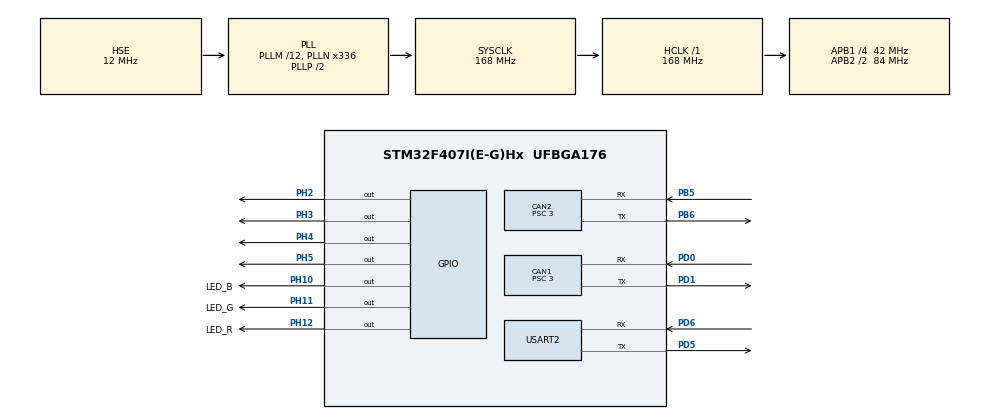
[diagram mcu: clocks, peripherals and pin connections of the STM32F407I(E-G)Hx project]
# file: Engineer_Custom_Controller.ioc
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CAN1.ABOM=ENABLE
CAN1.BS1=CAN_BS1_10TQ
CAN1.BS2=CAN_BS2_3TQ
CAN1.CalculateBaudRate=1000000
CAN1.CalculateTimeBit=1000
CAN1.CalculateTimeQuantum=71.42857142857143
CAN1.Prescaler=3
CAN2.ABOM=ENABLE
CAN2.BS1=CAN_BS1_10TQ
CAN2.BS2=CAN_BS2_3TQ
CAN2.CalculateBaudRate=1000000
CAN2.CalculateTimeBit=1000
CAN2.CalculateTimeQuantum=71.42857142857143
CAN2.Prescaler=3
Dma.Request0=USART2_RX
Dma.Request1=USART2_TX
Dma.USART2_RX.0.Direction=DMA_PERIPH_TO_MEMORY
Dma.USART2_RX.0.FIFOMode=DMA_FIFOMODE_DISABLE
Dma.USART2_RX.0.Instance=DMA1_Stream5
Dma.USART2_RX.0.MemDataAlignment=DMA_MDATAALIGN_BYTE
Dma.USART2_RX.0.MemInc=DMA_MINC_ENABLE
Dma.USART2_RX.0.Mode=DMA_NORMAL
Dma.USART2_RX.0.PeriphDataAlignment=DMA_PDATAALIGN_BYTE
Dma.USART2_RX.0.PeriphInc=DMA_PINC_DISABLE
Dma.USART2_RX.0.Priority=DMA_PRIORITY_LOW
Dma.USART2_TX.1.Direction=DMA_MEMORY_TO_PERIPH
Dma.USART2_TX.1.FIFOMode=DMA_FIFOMODE_DISABLE
Dma.USART2_TX.1.Instance=DMA1_Stream6
Dma.USART2_TX.1.MemDataAlignment=DMA_MDATAALIGN_BYTE
Dma.USART2_TX.1.MemInc=DMA_MINC_ENABLE
Dma.USART2_TX.1.Mode=DMA_NORMAL
Dma.USART2_TX.1.PeriphDataAlignment=DMA_PDATAALIGN_BYTE
Dma.USART2_TX.1.PeriphInc=DMA_PINC_DISABLE
Dma.USART2_TX.1.Priority=DMA_PRIORITY_LOW
Mcu.Family=STM32F4
Mcu.Name=STM32F407I(E-G)Hx
Mcu.Package=UFBGA176
NVIC.CAN1_RX0_IRQn=true\:0\:0\:false\:false\:true\:true\:true\:true
NVIC.CAN1_RX1_IRQn=true\:0\:0\:false\:false\:true\:true\:true\:true
NVIC.CAN2_RX0_IRQn=true\:0\:0\:false\:false\:true\:true\:true\:true
NVIC.CAN2_RX1_IRQn=true\:0\:0\:false\:false\:true\:true\:true\:true
NVIC.DMA1_Stream5_IRQn=true\:0\:0\:false\:false\:true\:false\:true\:true
NVIC.DMA1_Stream6_IRQn=true\:0\:0\:false\:false\:true\:false\:true\:true
NVIC.PriorityGroup=NVIC_PRIORITYGROUP_4
NVIC.TIM6_DAC_IRQn=true\:0\:0\:false\:false\:true\:true\:true\:true
NVIC.USART2_IRQn=true\:0\:0\:false\:false\:true\:true\:true\:true
PA13.Mode=Serial_Wire
PA13.Signal=SYS_JTMS-SWDIO
PA14.Mode=Serial_Wire
PA14.Signal=SYS_JTCK-SWCLK
PB5.Mode=CAN_Activate
PB5.Signal=CAN2_RX
PB6.Mode=CAN_Activate
PB6.Signal=CAN2_TX
PD0.Mode=CAN_Activate
PD0.Signal=CAN1_RX
PD1.Mode=CAN_Activate
PD1.Signal=CAN1_TX
PD5.Mode=Asynchronous
PD5.Signal=USART2_TX
PD6.Mode=Asynchronous
PD6.Signal=USART2_RX
PH0-OSC_IN.Mode=HSE-External-Oscillator
PH0-OSC_IN.Signal=RCC_OSC_IN
PH1-OSC_OUT.Mode=HSE-External-Oscillator
PH1-OSC_OUT.Signal=RCC_OSC_OUT
PH10.GPIO_Label=LED_B
PH10.Signal=GPIO_Output
PH11.GPIO_Label=LED_G
PH11.Signal=GPIO_Output
PH12.GPIO_Label=LED_R
PH12.Signal=GPIO_Output
PH2.Signal=GPIO_Output
PH3.Signal=GPIO_Output
PH4.Signal=GPIO_Output
PH5.Signal=GPIO_Output
ProjectManager.HeapSize=0x200
ProjectManager.StackSize=0x400
ProjectManager.TargetToolchain=STM32CubeIDE
RCC.48MHZClocksFreq_Value=84000000
RCC.AHBFreq_Value=168000000
RCC.APB1CLKDivider=RCC_HCLK_DIV4
RCC.APB1Freq_Value=42000000
RCC.APB1TimFreq_Value=84000000
RCC.APB2CLKDivider=RCC_HCLK_DIV2
RCC.APB2Freq_Value=84000000
RCC.APB2TimFreq_Value=168000000
RCC.CortexFreq_Value=168000000
RCC.HCLKFreq_Value=168000000
RCC.HSE_VALUE=12000000
RCC.HSI_VALUE=16000000
RCC.LSE_VALUE=32768
RCC.PLLM=12
RCC.PLLN=336
RCC.PLLSourceVirtual=RCC_PLLSOURCE_HSE
RCC.SYSCLKFreq_VALUE=168000000
RCC.SYSCLKSource=RCC_SYSCLKSOURCE_PLLCLK
RCC.VCOOutputFreq_Value=336000000
USART2.VirtualMode=VM_ASYNC
VP_TIM6_VS_ClockSourceINT.Mode=Enable_Timer
board=custom

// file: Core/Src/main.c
/* USER CODE BEGIN Header */
/**
  ******************************************************************************
  * @file           : main.c
  * @brief          : Main program body
  ******************************************************************************
  * @attention
  *
  * Copyright (c) 2025 STMicroelectronics.
  * All rights reserved.
  *
  * This software is licensed under terms that can be found in the LICENSE file
  * in the root directory of this software component.
  * If no LICENSE file comes with this software, it is provided AS-IS.
  *
  ******************************************************************************
  */
/* USER CODE END Header */
#include "main.h"
#include "can.h"
#include "dma.h"
#include "tim.h"
#include "usart.h"
#include "gpio.h"

/* USER CODE BEGIN Includes */
#include "dvc_timebase.h"
#include "dvc_serialplot.h"
#include "dvc_motor.h"
#include "alg_pid.h"
#include "dvc_motor_config.h"
#include "drv_can.h"
#include "math.h"
#include "drv_comm.h"
/* USER CODE END Includes */

/* USER CODE BEGIN PTD */
UART_Manage_t uart2_mgr;   // one per UART

/* USER CODE END PTD */

/* USER CODE BEGIN PD */
Serialplot_t plot;
volatile int16_t debug_cmd_motor7 = 0;
#define SEND_INTERVAL_MS 100 // Send data every 100ms
/* USER CODE END PD */

/* USER CODE BEGIN PV */
float var1, var2, var3;

AnglesAndButtons_t sensor_data = {0};
ControllerFrame_t tx_frame = {0};
static uint32_t last_send_time = 0; // Track last send time for periodic transmission
/* USER CODE END PV */

void SystemClock_Config(void);
/* USER CODE BEGIN PFP */
void collect_and_send_data(void); // Function to collect and send angle data
/* USER CODE END PFP */

int main(void)
{

  /* MCU Configuration--------------------------------------------------------*/

  /* Reset of all peripherals, Initializes the Flash interface and the Systick. */
  HAL_Init();

  /* Configure the system clock */
  SystemClock_Config();

  /* Initialize all configured peripherals */
  MX_GPIO_Init();
  MX_DMA_Init();
  MX_CAN1_Init();
  MX_CAN2_Init();
  MX_USART2_UART_Init();
  MX_TIM6_Init();                    // init TIM6 first
  HAL_TIM_Base_Start_IT(&htim6);     // then start it with interrupt enabled
  protocol_init();

  /* USER CODE BEGIN 2 */
  Enable_CAN2();
  Motors_Init();
  Motor_Set_Target_Angle(&motors[3], -1.8f);
  Motor_Set_Target_Angle(&motors[4], -2.0f);

  /* USER CODE END 2 */

  /* Infinite loop */
  while (1)
  {

    /* USER CODE BEGIN 3 */
    // Check if it's time to send data (every 100ms)
    if (HAL_GetTick() - last_send_time >= SEND_INTERVAL_MS) {
        collect_and_send_data();
        last_send_time = HAL_GetTick();
    }
  }
  /* USER CODE END 3 */
}

void send_to_vtm(const ControllerFrame_t* frame) {
    // Transmit via UART (blocking)
    HAL_UART_Transmit(&huart2, (uint8_t*)frame, DATA_FRAME_LENGTH, HAL_MAX_DELAY);
}
/**
  * @brief Collect angle data and send via UART
  * @retval None
  *
  *
  */
void collect_and_send_data(void) {
    // Populate sensor_data with motor angles and button statuses
    for (int i = 0; i < 6; i++) {
        sensor_data.angle_data[i] = motors[i].Now_Angle; // Assuming motors[i].Angle exists
    }
    // Set button statuses (example: all buttons off; modify as needed)
    sensor_data.button_status[0] = 0;
    sensor_data.button_status[1] = 0;
    sensor_data.button_status[2] = 0;

    // Prepare the frame
    protocol_concatenate_data(&sensor_data, &tx_frame);

    // Send the frame via UART
    send_to_vtm(&tx_frame);
}

void HAL_TIM_PeriodElapsedCallback(TIM_HandleTypeDef *htim)
{
    if (htim->Instance == TIM6)
    {
        for (int i = 0; i < MOTOR_COUNT; i++) {
            Motor_TIM_PID_PeriodElapsedCallback(&motors[i]);
        }

        Set_C620_Current((int16_t)motors[0].Out,
                         (int16_t)motors[1].Out,
                         (int16_t)motors[2].Out);

        Set_GM6020_Voltage((int16_t)motors[3].Out,
                           (int16_t)motors[4].Out,
                           (int16_t)motors[5].Out);
    }
}

void SystemClock_Config(void)
{
  RCC_OscInitTypeDef RCC_OscInitStruct = {0};
  RCC_ClkInitTypeDef RCC_ClkInitStruct = {0};

  /** Configure the main internal regulator output voltage
  */
  __HAL_RCC_PWR_CLK_ENABLE();
  __HAL_PWR_VOLTAGESCALING_CONFIG(PWR_REGULATOR_VOLTAGE_SCALE1);

  /** Initializes the RCC Oscillators according to the specified parameters
  * in the RCC_OscInitTypeDef structure.
  */
  RCC_OscInitStruct.OscillatorType = RCC_OSCILLATORTYPE_HSE;
  RCC_OscInitStruct.HSEState = RCC_HSE_ON;
  RCC_OscInitStruct.PLL.PLLState = RCC_PLL_ON;
  RCC_OscInitStruct.PLL.PLLSource = RCC_PLLSOURCE_HSE;
  RCC_OscInitStruct.PLL.PLLM = 12;
  RCC_OscInitStruct.PLL.PLLN = 336;
  RCC_OscInitStruct.PLL.PLLP = RCC_PLLP_DIV2;
  RCC_OscInitStruct.PLL.PLLQ = 4;
  if (HAL_RCC_OscConfig(&RCC_OscInitStruct) != HAL_OK)
  {
    Error_Handler();
  }

  /** Initializes the CPU, AHB and APB buses clocks
  */
  RCC_ClkInitStruct.ClockType = RCC_CLOCKTYPE_HCLK|RCC_CLOCKTYPE_SYSCLK
                              |RCC_CLOCKTYPE_PCLK1|RCC_CLOCKTYPE_PCLK2;
  RCC_ClkInitStruct.SYSCLKSource = RCC_SYSCLKSOURCE_PLLCLK;
  RCC_ClkInitStruct.AHBCLKDivider = RCC_SYSCLK_DIV1;
  RCC_ClkInitStruct.APB1CLKDivider = RCC_HCLK_DIV4;
  RCC_ClkInitStruct.APB2CLKDivider = RCC_HCLK_DIV2;

  if (HAL_RCC_ClockConfig(&RCC_ClkInitStruct, FLASH_LATENCY_5) != HAL_OK)
  {
    Error_Handler();
  }
}

void Error_Handler(void)
{
  /* USER CODE BEGIN Error_Handler_Debug */
  HAL_GPIO_WritePin(LED_R_GPIO_Port, LED_R_Pin, GPIO_PIN_RESET);
  __disable_irq();
  while (1)
  {
      HAL_GPIO_TogglePin(LED_R_GPIO_Port, LED_R_Pin);
      HAL_Delay(250); // blink every 250ms
  }
  /* USER CODE END Error_Handler_Debug */
}
